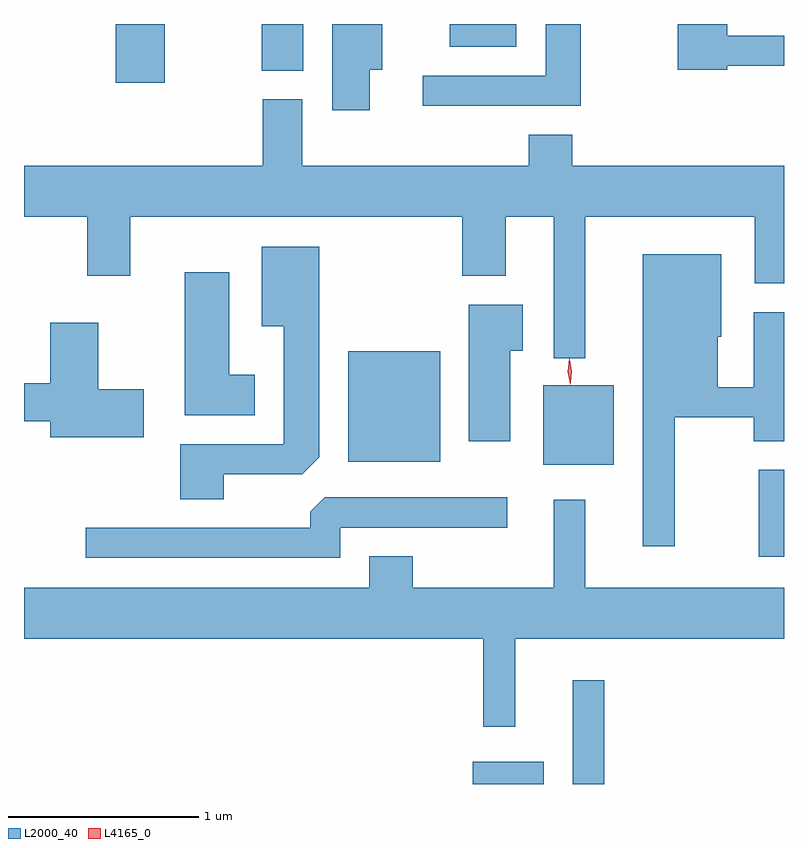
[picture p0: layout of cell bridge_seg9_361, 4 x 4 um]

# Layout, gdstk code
import gdstk
lib = gdstk.Library(unit=1e-6, precision=1e-09)
def R(c, l, rs):  # rectangles x0, y0, x1, y1
    for r in rs: c.add(gdstk.rectangle(r[:2], r[2:], *l))
def P(c, l, *ps):  # polygons
    for p in ps: c.add(gdstk.Polygon(p, *l))
L2000_40 = (2000, 40)
L4165_0 = (4165, 0)

bridge_seg9_361 = lib.new_cell('bridge_seg9_361')
R(bridge_seg9_361, L2000_40, [(1057.046,1946.651,1057.419,1946.769), (1057.571,1946.651,1057.739,1947.198), (1058.551,1947.846,1058.684,1948.304), (1057.416,1948.331,1057.789,1948.749), (1056.391,1948.346,1056.874,1948.929), (1055.166,1950.341,1055.424,1950.651), (1055.936,1950.406,1056.154,1950.651), (1056.926,1950.531,1057.274,1950.651)])
P(bridge_seg9_361, L2000_40, [(1056.504,1950.411),(1056.569,1950.411),(1056.569,1950.651),(1056.306,1950.651),(1056.306,1950.196),(1056.504,1950.196)],
  [(1058.384,1950.431),(1058.684,1950.431),(1058.684,1950.589),(1058.384,1950.589),(1058.384,1950.651),(1058.126,1950.651),(1058.126,1950.411),(1058.384,1950.411)],
  [(1057.614,1950.651),(1057.431,1950.651),(1057.431,1950.379),(1056.783,1950.379),(1056.783,1950.221),(1057.614,1950.221)],
  [(1057.639,1949.636),(1058.531,1949.636),(1058.531,1949.286),(1058.684,1949.286),(1058.684,1949.904),(1057.569,1949.904),(1057.569,1950.069),(1057.341,1950.069),(1057.341,1949.904),(1056.149,1949.904),(1056.149,1950.254),(1055.941,1950.254),(1055.941,1949.904),(1054.684,1949.904),(1054.684,1949.636),(1055.016,1949.636),(1055.016,1949.326),(1055.244,1949.326),(1055.244,1949.636),(1056.991,1949.636),(1056.991,1949.326),(1057.219,1949.326),(1057.219,1949.636),(1057.471,1949.636),(1057.471,1948.893),(1057.639,1948.893)],
  [(1055.734,1948.281),(1056.149,1948.281),(1056.239,1948.372),(1056.239,1949.479),(1055.936,1949.479),(1055.936,1949.061),(1056.051,1949.061),(1056.051,1948.439),(1055.506,1948.439),(1055.506,1948.151),(1055.734,1948.151)],
  [(1058.109,1948.581),(1058.526,1948.581),(1058.526,1948.456),(1058.684,1948.456),(1058.684,1949.134),(1058.526,1949.134),(1058.526,1948.739),(1058.334,1948.739),(1058.334,1949.006),(1058.354,1949.006),(1058.354,1949.439),(1057.941,1949.439),(1057.941,1947.903),(1058.109,1947.903)],
  [(1055.899,1948.804),(1055.764,1948.804),(1055.764,1949.344),(1055.531,1949.344),(1055.531,1948.591),(1055.899,1948.591)],
  [(1057.244,1948.931),(1057.309,1948.931),(1057.309,1949.174),(1057.026,1949.174),(1057.026,1948.456),(1057.244,1948.456)],
  [(1055.314,1948.729),(1055.074,1948.729),(1055.074,1949.079),(1054.821,1949.079),(1054.821,1948.759),(1054.684,1948.759),(1054.684,1948.561),(1054.821,1948.561),(1054.821,1948.476),(1055.314,1948.476)],
  [(1056.349,1948.001),(1057.228,1948.001),(1057.228,1948.159),(1056.267,1948.159),(1056.191,1948.084),(1056.191,1947.999),(1055.008,1947.999),(1055.008,1947.841),(1056.349,1947.841)],
  [(1057.269,1947.416),(1058.684,1947.416),(1058.684,1947.684),(1057.639,1947.684),(1057.639,1948.148),(1057.471,1948.148),(1057.471,1947.684),(1056.729,1947.684),(1056.729,1947.849),(1056.501,1947.849),(1056.501,1947.684),(1054.684,1947.684),(1054.684,1947.416),(1057.101,1947.416),(1057.101,1946.953),(1057.269,1946.953)])
P(bridge_seg9_361, L4165_0, [(1057.558,1948.754),(1057.558,1948.754),(1057.546,1948.822),(1057.554,1948.89),(1057.555,1948.891),(1057.555,1948.89),(1057.566,1948.822),(1057.558,1948.754)],
  [(1057.56,1948.758),(1057.56,1948.759),(1057.548,1948.823),(1057.556,1948.887),(1057.556,1948.887),(1057.557,1948.887),(1057.568,1948.823),(1057.561,1948.759)])

lib.write_gds('bridge_seg9_361.gds')
